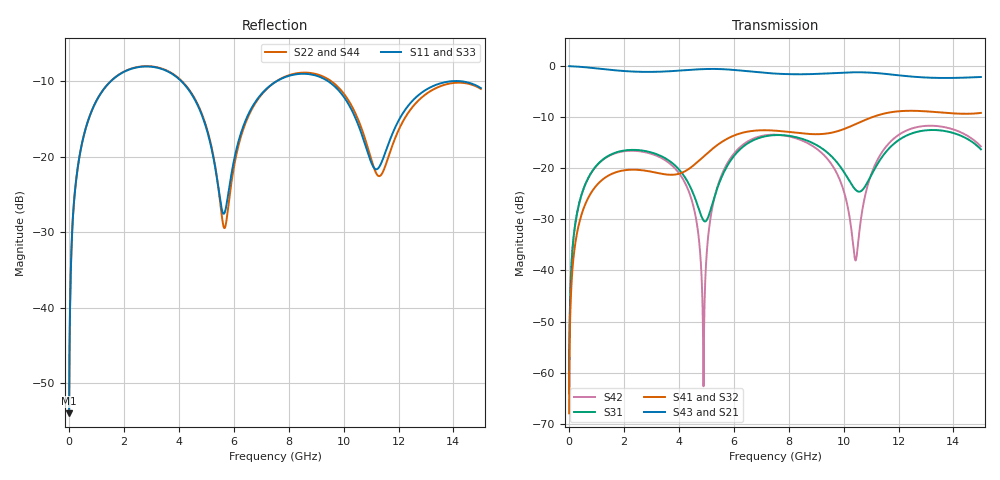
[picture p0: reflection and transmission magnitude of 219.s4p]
! Created with skrf 1.8.0 (http://scikit-rf.org).
# GHz S RI R 50.0
!freq ReS11 ImS11 ReS12 ImS12 ReS13 ImS13
! ReS14 ImS14
! ReS21 ImS21 ReS22 ImS22 ReS23 ImS23
! ReS24 ImS24
! ReS31 ImS31 ReS32 ImS32 ReS33 ImS33
! ReS34 ImS34
! ReS41 ImS41 ReS42 ImS42 ReS43 ImS43
! ReS44 ImS44
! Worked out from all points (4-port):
!   2499 points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, 5 MHz to 15 GHz, reference 50 ohm
!   strongest paths, dB at 5 MHz, 3.476 GHz, 7.19 GHz, 11.1 GHz, 15 GHz:
!     S43: 0.0, -1.1, -1.3, -1.3, -2.1
!     S21: 0.0, -1.1, -1.4, -1.3, -2.1
!     S41: -68.0, -21.2, -12.6, -9.9, -9.2
!     S32: -68.0, -21.2, -12.6, -9.9, -9.2
!     S31: -64.0, -18.0, -13.7, -20.4, -16.3
!     S42: -64.0, -18.3, -13.5, -19.9, -15.7
!   lowest |S11| = -54.0 dB at 5 MHz (marker M1), VSWR 1.00, Z = 50.2 + j0.122 ohm
!   |S11| at or under -10 dB: start of sweep to 1.529 GHz; 4.086 GHz to 7.572 GHz (3.485 GHz wide, 59.8 % of centre); 9.428 GHz to 14.01 GHz (4.58 GHz wide, 39.1 % of centre) (the widest 3 of 4)
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0.005  0.00159 0.00121  0.9984 -0.0031  7.96e-05 0.000623  -7.73e-05 -0.000392
       0.9984 -0.0031  0.00159 0.00121  -7.73e-05 -0.000392  7.95e-05 0.000623
       7.96e-05 0.000623  -7.73e-05 -0.000392  0.00159 0.00121  0.9984 -0.0031
       -7.73e-05 -0.000392  7.95e-05 0.000623  0.9984 -0.0031  0.00159 0.00121
0.3126303  0.0228 0.0799  0.9688 -0.1931  0.0105 0.0371  -0.00861 -0.0231
           0.9688 -0.1931  0.0229 0.0799  -0.00861 -0.0231  0.0101 0.0372
           0.0105 0.0371  -0.00861 -0.0231  0.0229 0.0799  0.9688 -0.1931
           -0.00861 -0.0231  0.0101 0.0372  0.9688 -0.1931  0.0229 0.0799
1.519383  0.2548 0.1853  0.5817 -0.7106  0.1216 0.0609  -0.0864 -0.0116
          0.5817 -0.7106  0.2563 0.1844  -0.0863 -0.0117  0.1171 0.0665
          0.1216 0.0609  -0.0863 -0.0117  0.2549 0.1853  0.5817 -0.7105
          -0.0864 -0.0116  0.1171 0.0665  0.5817 -0.7105  0.2562 0.1845
4.899091  0.1011 -0.1439  -0.8208 -0.447  -0.0263 -0.0161  -0.0578 0.1166
          -0.8208 -0.447  0.0955 -0.1518  -0.0592 0.1159  -0.000678 -0.000282
          -0.0263 -0.0161  -0.0592 0.1159  0.1015 -0.144  -0.8207 -0.4471
          -0.0578 0.1166  -0.000678 -0.000282  -0.8207 -0.4471  0.0953 -0.1522
6.490204  0.1309 0.1289  -0.8103 0.3702  0.1092 0.1355  0.1287 0.1882
          -0.8103 0.3702  0.1222 0.1292  0.1262 0.1891  0.124 0.1329
          0.1092 0.1355  0.1262 0.1891  0.132 0.1278  -0.8107 0.3699
          0.1287 0.1882  0.124 0.1329  -0.8107 0.3699  0.12 0.1285
11.13589  0.0816 -0.0163  0.8336 0.2002  -0.0434 0.0892  0.0657 -0.3161
          0.8336 0.2002  0.0726 -0.0369  0.0734 -0.3142  0.00498 0.1065
          -0.0434 0.0892  0.0734 -0.3142  0.0804 -0.0113  0.8341 0.1988
          0.0657 -0.3161  0.00498 0.1065  0.8341 0.1988  0.0711 -0.0333
15  0.2669 -0.0977  -0.1634 -0.7658  0.0979 -0.1181  -0.3223 0.1316
    -0.1634 -0.7658  0.2623 -0.0998  -0.3246 0.1164  0.1003 -0.1296
    0.0979 -0.1181  -0.3246 0.1164  0.2685 -0.1087  -0.1627 -0.7653
    -0.3223 0.1316  0.1003 -0.1296  -0.1627 -0.7653  0.2644 -0.0887
